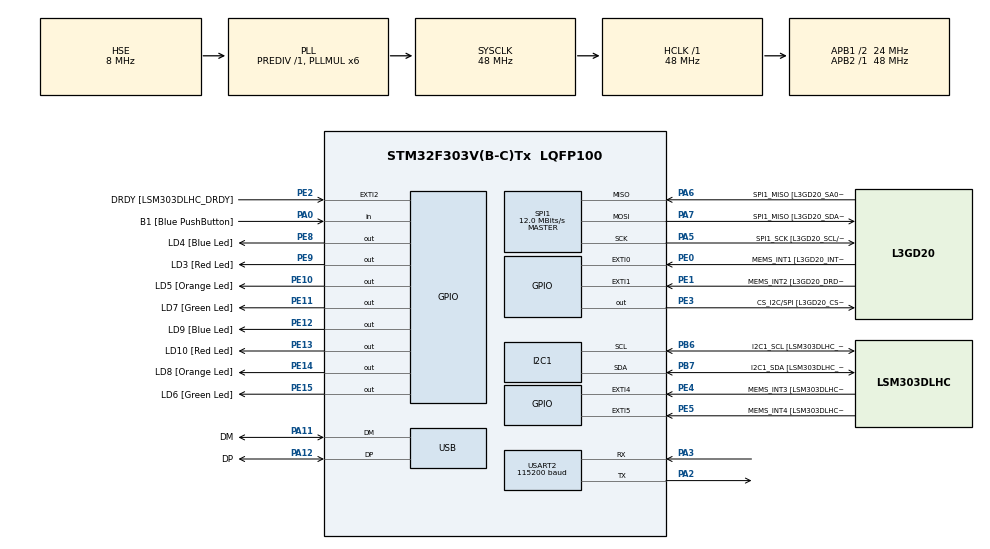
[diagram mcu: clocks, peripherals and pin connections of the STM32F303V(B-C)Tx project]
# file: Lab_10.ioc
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I2C1.Timing=0x00201D2B
I2C1.Timing-I2C=0x2000090E
Mcu.Family=STM32F3
Mcu.Name=STM32F303V(B-C)Tx
Mcu.Package=LQFP100
NVIC.PriorityGroup=NVIC_PRIORITYGROUP_0
PA0.GPIO_Label=B1 [Blue PushButton]
PA0.Signal=GPIO_Input
PA11.GPIO_Label=DM
PA11.Mode=Device
PA11.Signal=USB_DM
PA12.GPIO_Label=DP
PA12.Mode=Device
PA12.Signal=USB_DP
PA13.GPIO_Label=SWDIO
PA13.Mode=Serial_Wire
PA13.Signal=SYS_JTMS-SWDIO
PA14.GPIO_Label=SWCLK
PA14.Mode=Serial_Wire
PA14.Signal=SYS_JTCK-SWCLK
PA2.Mode=Asynchronous
PA2.Signal=USART2_TX
PA3.Mode=Asynchronous
PA3.Signal=USART2_RX
PA5.GPIO_Label=SPI1_SCK [L3GD20_SCL/SPC]
PA5.Mode=Full_Duplex_Master
PA5.Signal=SPI1_SCK
PA6.GPIO_Label=SPI1_MISO [L3GD20_SA0/SDO]
PA6.Mode=Full_Duplex_Master
PA6.Signal=SPI1_MISO
PA7.GPIO_Label=SPI1_MISO [L3GD20_SDA/SDI/SDO]
PA7.Mode=Full_Duplex_Master
PA7.Signal=SPI1_MOSI
PB3.GPIO_Label=SWO
PB3.Signal=SYS_JTDO-TRACESWO
PB6.GPIO_Label=I2C1_SCL [LSM303DLHC_SCL]
PB6.GPIO_Pu=GPIO_PULLUP
PB6.Mode=I2C
PB6.Signal=I2C1_SCL
PB7.GPIO_Label=I2C1_SDA [LSM303DLHC_SDA]
PB7.GPIO_Pu=GPIO_PULLUP
PB7.Mode=I2C
PB7.Signal=I2C1_SDA
PC14-OSC32_IN.GPIO_Label=OSC32_IN
PC14-OSC32_IN.Signal=RCC_OSC32_IN
PC15-OSC32_OUT.GPIO_Label=OSC32_OUT
PC15-OSC32_OUT.Signal=RCC_OSC32_OUT
PE0.GPIO_Label=MEMS_INT1 [L3GD20_INT1]
PE0.GPIO_ModeDefaultEXTI=GPIO_MODE_EVT_RISING
PE0.Signal=GPXTI0
PE1.GPIO_Label=MEMS_INT2 [L3GD20_DRDY/INT2]
PE1.GPIO_ModeDefaultEXTI=GPIO_MODE_EVT_RISING
PE1.Signal=GPXTI1
PE10.GPIO_Label=LD5 [Orange Led]
PE10.Signal=GPIO_Output
PE11.GPIO_Label=LD7 [Green Led]
PE11.Signal=GPIO_Output
PE12.GPIO_Label=LD9 [Blue Led]
PE12.Signal=GPIO_Output
PE13.GPIO_Label=LD10 [Red Led]
PE13.Signal=GPIO_Output
PE14.GPIO_Label=LD8 [Orange Led]
PE14.Signal=GPIO_Output
PE15.GPIO_Label=LD6 [Green Led]
PE15.Signal=GPIO_Output
PE2.GPIO_Label=DRDY [LSM303DLHC_DRDY]
PE2.GPIO_ModeDefaultEXTI=GPIO_MODE_EVT_RISING
PE2.Signal=GPXTI2
PE3.GPIO_Label=CS_I2C/SPI [L3GD20_CS_I2C/SPI]
PE3.Signal=GPIO_Output
PE4.GPIO_Label=MEMS_INT3 [LSM303DLHC_INT1]
PE4.GPIO_ModeDefaultEXTI=GPIO_MODE_EVT_RISING
PE4.Signal=GPXTI4
PE5.GPIO_Label=MEMS_INT4 [LSM303DLHC_INT2]
PE5.GPIO_ModeDefaultEXTI=GPIO_MODE_EVT_RISING
PE5.Signal=GPXTI5
PE8.GPIO_Label=LD4 [Blue Led]
PE8.Signal=GPIO_Output
PE9.GPIO_Label=LD3 [Red Led]
PE9.Signal=GPIO_Output
PF0-OSC_IN.GPIO_Label=OSC_IN
PF0-OSC_IN.Mode=HSE-External-Clock-Source
PF0-OSC_IN.Signal=RCC_OSC_IN
PF1-OSC_OUT.GPIO_Label=OSC_OUT
PF1-OSC_OUT.Signal=RCC_OSC_OUT
ProjectManager.HeapSize=0x200
ProjectManager.StackSize=0x400
ProjectManager.TargetToolchain=CMake
RCC.AHBFreq_Value=48000000
RCC.APB1CLKDivider=RCC_HCLK_DIV2
RCC.APB1Freq_Value=24000000
RCC.APB1TimFreq_Value=48000000
RCC.APB2Freq_Value=48000000
RCC.APB2TimFreq_Value=48000000
RCC.CortexFreq_Value=48000000
RCC.HCLKFreq_Value=48000000
RCC.HSE_VALUE=8000000
RCC.HSI_VALUE=8000000
RCC.LSE_VALUE=32768
RCC.PLLMUL=RCC_PLL_MUL6
RCC.SYSCLKFreq_VALUE=48000000
RCC.SYSCLKSourceVirtual=RCC_SYSCLKSOURCE_PLLCLK
RCC.USBFreq_Value=48000000
SPI1.BaudRatePrescaler=SPI_BAUDRATEPRESCALER_4
SPI1.BaudRatePrescaler-Full_Duplex_Master=SPI_BAUDRATEPRESCALER_2
SPI1.CalculateBaudRate=12.0 MBits/s
SPI1.CalculateBaudRate-Full_Duplex_Master=24.0 MBits/s
SPI1.Direction=SPI_DIRECTION_2LINES
SPI1.Mode=SPI_MODE_MASTER
SPI1.Mode-Full_Duplex_Master=SPI_MODE_MASTER
SPI1.VirtualType=VM_MASTER
USART2.BaudRate=115200
USART2.VirtualMode-Asynchronous=VM_ASYNC
board=STM32F3DISCOVERY

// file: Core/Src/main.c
/* USER CODE BEGIN Header */
/**
  ******************************************************************************
  * @file           : main.c
  * @brief          : Main program body
  ******************************************************************************
  * @attention
  *
  * Copyright (c) 2026 STMicroelectronics.
  * All rights reserved.
  *
  * This software is licensed under terms that can be found in the LICENSE file
  * in the root directory of this software component.
  * If no LICENSE file comes with this software, it is provided AS-IS.
  *
  ******************************************************************************
  */
/* USER CODE END Header */
#include "main.h"

/* USER CODE BEGIN Includes */

#include "heap_driver.h"
#include <stdlib.h>
#include <string.h>
#include "stdarg.h"
#include "stdio.h"
#include <strings.h>
/* USER CODE END Includes */

I2C_HandleTypeDef hi2c1;

SPI_HandleTypeDef hspi1;

UART_HandleTypeDef huart2;

PCD_HandleTypeDef hpcd_USB_FS;

void SystemClock_Config(void);
static void MX_GPIO_Init(void);
static void MX_I2C1_Init(void);
static void MX_SPI1_Init(void);
static void MX_USART2_UART_Init(void);
static void MX_USB_PCD_Init(void);

/* USER CODE BEGIN 0 */
//From lab 2
  void myPrintf(const char* fmt, ...)
  {
    char buffer[512];

    // Step 2: Initialize the variadic argument list.
    va_list args;
    va_start(args, fmt);

    // Step 3: Format the final string using vsnprintf.
    // vsnprintf is "v" (takes a va_list) and "n" (prevents buffer overflow).
    int length = vsnprintf(buffer, sizeof(buffer), fmt, args);

    // Clean up the variadic argument list
    va_end(args);

    // Step 4: Transmit the string over UART using HAL_UART_Transmit.
    // We cast buffer to (uint8_t*) as required by the HAL library.
    if (length > 0) {
        HAL_UART_Transmit(&huart2, (uint8_t*)buffer, (uint16_t)length, HAL_MAX_DELAY);
    }
  };

// Lab 10

#define N 10

void task1(void){

  // Malloc
  int *arr_malloc = (int*) malloc(N* sizeof(int));
  myPrintf("Malloc Memory reserverd: %p \r\n", arr_malloc);
  if (arr_malloc == NULL) {
    return;
  }

  for (int i=0; i<N; i++){
    arr_malloc[i] = i*2;
  }

  // Calloc
  int *arr_calloc = (int*) calloc(N, sizeof(int));
  myPrintf("Calloc Memory reserved: %p \r\n", arr_calloc);
  if (arr_calloc == NULL) {
    // Error handleing
    free(arr_malloc);
    return;
  }

  for (int i = 0; i < N; i++){
    arr_calloc[i] = i+1;
  }

  for (int i = 0 ; i< N; i++){
    myPrintf("malloc[%d] = %d \r\n", i, arr_malloc[i]);
  }
  for (int i = 0; i<N ; i++) {
    myPrintf("calloc[%d] = %d \r\n", i, arr_calloc[i]);
  }

  // Free everything so no memory leaks;
  myPrintf("Starting to free memory \r\n");
  free(arr_malloc);
  arr_malloc = NULL;
  free(arr_calloc);
  arr_calloc = NULL;
  myPrintf("Memory free! \r\n");

}
/* USER CODE END 0 */

int main(void)
{

  /* MCU Configuration--------------------------------------------------------*/

  /* Reset of all peripherals, Initializes the Flash interface and the Systick. */
  HAL_Init();

  /* Configure the system clock */
  SystemClock_Config();

  /* Initialize all configured peripherals */
  MX_GPIO_Init();
  MX_I2C1_Init();
  MX_SPI1_Init();
  MX_USART2_UART_Init();
  MX_USB_PCD_Init();
  /* USER CODE BEGIN 2 */
  // Task 1
  myPrintf("== TASK 1 == \r\n");
  task1();
  myPrintf("== Complete == \r\n");

  myPrintf("==  == \r\n");
  myPrintf("==  == \r\n");
  myPrintf("== Task 2 == \r\n");
  // Task 2
  myPrintf("=== Custom Heap Driver (Direct SRAM) ===\r\n");
  // Initialize the custom heap allocator.
  // This function sets up internal memory structures (e.g., the block_map array)
  // so that all heap memory is marked as free.
  // It MUST be called before using heap_alloc or heap_free.
  heap_init();
  // Allocate 32 bytes from the heap.
  // heap_alloc returns a pointer to a memory region in SRAM that is at least 32 bytes long.
  // We cast the void* return type to char* so we can use string functions like strcpy.
  char* block1 = (char*)heap_alloc(32);
  // Allocate 48 bytes from the heap.
  char* block2 = (char*)heap_alloc(48);
  // Check if both allocations were successful (i.e., the returned pointers are not NULL).
  if (block1 && block2) {
    // If successful, store strings into the allocated memory regions.
    // Since the memory comes from our own heap allocator, we assume it behaves like malloc.
    strcpy(block1, "Data in Block 1"); // Copy string into the memory allocated in block1
    strcpy(block2, "Text from Block 2"); // Copy string into the memory allocated in block2
    // Print the contents of both blocks over UART.
    // This confirms that memory was correctly allocated and can be accessed.
    myPrintf(block1);
    myPrintf("\r\n");
    myPrintf(block2);
    myPrintf("\r\n");
  } else {
  // If either allocation failed (due to insufficient memory or a bug), print an error message.
    myPrintf("Allocation failed.\r\n");
  }
  // Free the memory blocks that were previously allocated.
  // This makes them available again for future calls to heap_alloc.
  // It's important to always free memory when you're done using it to avoid memory leaks.
  heap_free(block1);
  heap_free(block2);
  // Print a confirmation that memory has been freed.
  myPrintf("Blocks freed.\r\n");

  /* USER CODE END 2 */

  /* Infinite loop */
  while (1)
  {

  }
}

void SystemClock_Config(void)
{
  RCC_OscInitTypeDef RCC_OscInitStruct = {0};
  RCC_ClkInitTypeDef RCC_ClkInitStruct = {0};
  RCC_PeriphCLKInitTypeDef PeriphClkInit = {0};

  /** Initializes the RCC Oscillators according to the specified parameters
  * in the RCC_OscInitTypeDef structure.
  */
  RCC_OscInitStruct.OscillatorType = RCC_OSCILLATORTYPE_HSI|RCC_OSCILLATORTYPE_HSE;
  RCC_OscInitStruct.HSEState = RCC_HSE_BYPASS;
  RCC_OscInitStruct.HSEPredivValue = RCC_HSE_PREDIV_DIV1;
  RCC_OscInitStruct.HSIState = RCC_HSI_ON;
  RCC_OscInitStruct.HSICalibrationValue = RCC_HSICALIBRATION_DEFAULT;
  RCC_OscInitStruct.PLL.PLLState = RCC_PLL_ON;
  RCC_OscInitStruct.PLL.PLLSource = RCC_PLLSOURCE_HSE;
  RCC_OscInitStruct.PLL.PLLMUL = RCC_PLL_MUL6;
  if (HAL_RCC_OscConfig(&RCC_OscInitStruct) != HAL_OK)
  {
    Error_Handler();
  }

  /** Initializes the CPU, AHB and APB buses clocks
  */
  RCC_ClkInitStruct.ClockType = RCC_CLOCKTYPE_HCLK|RCC_CLOCKTYPE_SYSCLK
                              |RCC_CLOCKTYPE_PCLK1|RCC_CLOCKTYPE_PCLK2;
  RCC_ClkInitStruct.SYSCLKSource = RCC_SYSCLKSOURCE_PLLCLK;
  RCC_ClkInitStruct.AHBCLKDivider = RCC_SYSCLK_DIV1;
  RCC_ClkInitStruct.APB1CLKDivider = RCC_HCLK_DIV2;
  RCC_ClkInitStruct.APB2CLKDivider = RCC_HCLK_DIV1;

  if (HAL_RCC_ClockConfig(&RCC_ClkInitStruct, FLASH_LATENCY_1) != HAL_OK)
  {
    Error_Handler();
  }
  PeriphClkInit.PeriphClockSelection = RCC_PERIPHCLK_USB|RCC_PERIPHCLK_USART2
                              |RCC_PERIPHCLK_I2C1;
  PeriphClkInit.Usart2ClockSelection = RCC_USART2CLKSOURCE_PCLK1;
  PeriphClkInit.I2c1ClockSelection = RCC_I2C1CLKSOURCE_HSI;
  PeriphClkInit.USBClockSelection = RCC_USBCLKSOURCE_PLL;
  if (HAL_RCCEx_PeriphCLKConfig(&PeriphClkInit) != HAL_OK)
  {
    Error_Handler();
  }
}

static void MX_I2C1_Init(void)
{

  hi2c1.Instance = I2C1;
  hi2c1.Init.Timing = 0x00201D2B;
  hi2c1.Init.OwnAddress1 = 0;
  hi2c1.Init.AddressingMode = I2C_ADDRESSINGMODE_7BIT;
  hi2c1.Init.DualAddressMode = I2C_DUALADDRESS_DISABLE;
  hi2c1.Init.OwnAddress2 = 0;
  hi2c1.Init.OwnAddress2Masks = I2C_OA2_NOMASK;
  hi2c1.Init.GeneralCallMode = I2C_GENERALCALL_DISABLE;
  hi2c1.Init.NoStretchMode = I2C_NOSTRETCH_DISABLE;
  if (HAL_I2C_Init(&hi2c1) != HAL_OK)
  {
    Error_Handler();
  }

  /** Configure Analogue filter
  */
  if (HAL_I2CEx_ConfigAnalogFilter(&hi2c1, I2C_ANALOGFILTER_ENABLE) != HAL_OK)
  {
    Error_Handler();
  }

  /** Configure Digital filter
  */
  if (HAL_I2CEx_ConfigDigitalFilter(&hi2c1, 0) != HAL_OK)
  {
    Error_Handler();
  }

}

static void MX_SPI1_Init(void)
{

  /* SPI1 parameter configuration*/
  hspi1.Instance = SPI1;
  hspi1.Init.Mode = SPI_MODE_MASTER;
  hspi1.Init.Direction = SPI_DIRECTION_2LINES;
  hspi1.Init.DataSize = SPI_DATASIZE_4BIT;
  hspi1.Init.CLKPolarity = SPI_POLARITY_LOW;
  hspi1.Init.CLKPhase = SPI_PHASE_1EDGE;
  hspi1.Init.NSS = SPI_NSS_SOFT;
  hspi1.Init.BaudRatePrescaler = SPI_BAUDRATEPRESCALER_4;
  hspi1.Init.FirstBit = SPI_FIRSTBIT_MSB;
  hspi1.Init.TIMode = SPI_TIMODE_DISABLE;
  hspi1.Init.CRCCalculation = SPI_CRCCALCULATION_DISABLE;
  hspi1.Init.CRCPolynomial = 7;
  hspi1.Init.CRCLength = SPI_CRC_LENGTH_DATASIZE;
  hspi1.Init.NSSPMode = SPI_NSS_PULSE_ENABLE;
  if (HAL_SPI_Init(&hspi1) != HAL_OK)
  {
    Error_Handler();
  }

}

static void MX_USART2_UART_Init(void)
{

  huart2.Instance = USART2;
  huart2.Init.BaudRate = 115200;
  huart2.Init.WordLength = UART_WORDLENGTH_8B;
  huart2.Init.StopBits = UART_STOPBITS_1;
  huart2.Init.Parity = UART_PARITY_NONE;
  huart2.Init.Mode = UART_MODE_TX_RX;
  huart2.Init.HwFlowCtl = UART_HWCONTROL_NONE;
  huart2.Init.OverSampling = UART_OVERSAMPLING_16;
  huart2.Init.OneBitSampling = UART_ONE_BIT_SAMPLE_DISABLE;
  huart2.AdvancedInit.AdvFeatureInit = UART_ADVFEATURE_NO_INIT;
  if (HAL_UART_Init(&huart2) != HAL_OK)
  {
    Error_Handler();
  }

}

static void MX_USB_PCD_Init(void)
{

  hpcd_USB_FS.Instance = USB;
  hpcd_USB_FS.Init.dev_endpoints = 8;
  hpcd_USB_FS.Init.speed = PCD_SPEED_FULL;
  hpcd_USB_FS.Init.phy_itface = PCD_PHY_EMBEDDED;
  hpcd_USB_FS.Init.low_power_enable = DISABLE;
  hpcd_USB_FS.Init.battery_charging_enable = DISABLE;
  if (HAL_PCD_Init(&hpcd_USB_FS) != HAL_OK)
  {
    Error_Handler();
  }

}

static void MX_GPIO_Init(void)
{
  GPIO_InitTypeDef GPIO_InitStruct = {0};

  /* GPIO Ports Clock Enable */
  __HAL_RCC_GPIOE_CLK_ENABLE();
  __HAL_RCC_GPIOC_CLK_ENABLE();
  __HAL_RCC_GPIOF_CLK_ENABLE();
  __HAL_RCC_GPIOA_CLK_ENABLE();
  __HAL_RCC_GPIOB_CLK_ENABLE();

  /*Configure GPIO pin Output Level */
  HAL_GPIO_WritePin(GPIOE, CS_I2C_SPI_Pin|LD4_Pin|LD3_Pin|LD5_Pin
                          |LD7_Pin|LD9_Pin|LD10_Pin|LD8_Pin
                          |LD6_Pin, GPIO_PIN_RESET);

  /*Configure GPIO pins : DRDY_Pin MEMS_INT3_Pin MEMS_INT4_Pin MEMS_INT1_Pin
                           MEMS_INT2_Pin */
  GPIO_InitStruct.Pin = DRDY_Pin|MEMS_INT3_Pin|MEMS_INT4_Pin|MEMS_INT1_Pin
                          |MEMS_INT2_Pin;
  GPIO_InitStruct.Mode = GPIO_MODE_EVT_RISING;
  GPIO_InitStruct.Pull = GPIO_NOPULL;
  HAL_GPIO_Init(GPIOE, &GPIO_InitStruct);

  /*Configure GPIO pins : CS_I2C_SPI_Pin LD4_Pin LD3_Pin LD5_Pin
                           LD7_Pin LD9_Pin LD10_Pin LD8_Pin
                           LD6_Pin */
  GPIO_InitStruct.Pin = CS_I2C_SPI_Pin|LD4_Pin|LD3_Pin|LD5_Pin
                          |LD7_Pin|LD9_Pin|LD10_Pin|LD8_Pin
                          |LD6_Pin;
  GPIO_InitStruct.Mode = GPIO_MODE_OUTPUT_PP;
  GPIO_InitStruct.Pull = GPIO_NOPULL;
  GPIO_InitStruct.Speed = GPIO_SPEED_FREQ_LOW;
  HAL_GPIO_Init(GPIOE, &GPIO_InitStruct);

  /*Configure GPIO pin : B1_Pin */
  GPIO_InitStruct.Pin = B1_Pin;
  GPIO_InitStruct.Mode = GPIO_MODE_INPUT;
  GPIO_InitStruct.Pull = GPIO_NOPULL;
  HAL_GPIO_Init(B1_GPIO_Port, &GPIO_InitStruct);

}

void Error_Handler(void)
{
  __disable_irq();
  while (1)
  {
  }
}
